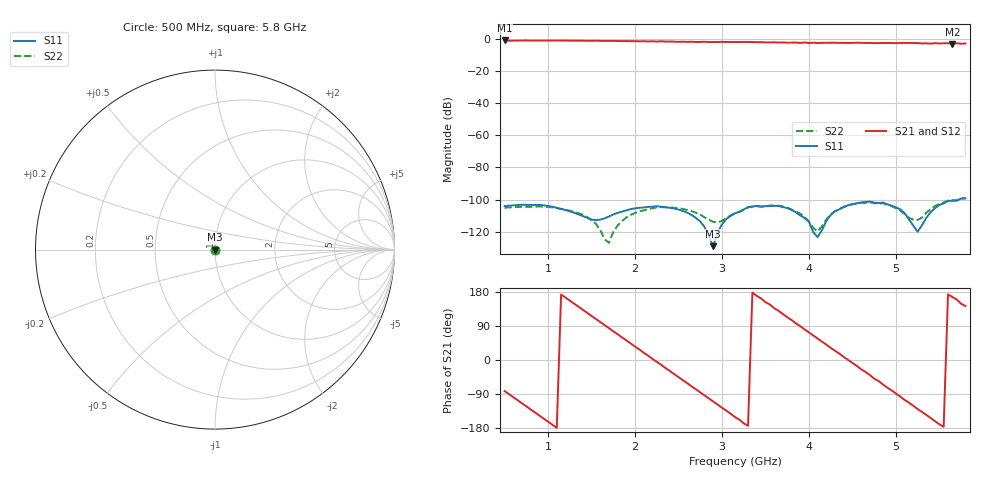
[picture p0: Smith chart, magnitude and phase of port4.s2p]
# GHZ S RI R 50
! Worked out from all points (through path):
!   107 points, 500 MHz to 5.8 GHz, reference 50 ohm
!   highest |S21| = -1.14 dB at 500 MHz (marker M1); lowest = -3.2 dB at 5.65 GHz (marker M2)
!   group delay of S21, straight-line fit = 448 ps
!   lowest |S11| = -129.0 dB at 2.9 GHz (marker M3), VSWR 1.00, Z = 50 - j9.72e-06 ohm
!   |S11| at or under -10 dB: start of sweep to end of sweep
!   |S22| runs from -126.9 to -99.3 dB; largest |S21 - S12| = 0.015
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0.5  5.3e-06 -3.4e-06  0.1218 -0.8685  0.1222 -0.868  5.43e-06 -1.17e-06
0.75  1.38e-06 -6.72e-06  -0.467 -0.7423  -0.4665 -0.7422  4.42e-06 -4.01e-06
1  -3.11e-06 -5.51e-06  -0.8309 -0.2591  -0.8308 -0.2605  1.52e-06 -5.72e-06
1.2  -3.99e-06 -2.54e-06  -0.8412 0.2262  -0.8409 0.2259  -1.12e-06 -4.7e-06
1.4  -2.86e-06 -1.1e-06  -0.5823 0.6366  -0.5827 0.6377  -2.31e-06 -2.46e-06
1.55  -1.88e-06 -1.33e-06  -0.2708 0.8178  -0.2693 0.8182  -1.54e-06 -8.79e-07
1.8  -2.5e-06 -2.91e-06  0.3161 0.7819  0.3169 0.7801  1.23e-06 -9.53e-07
2.1  -5.39e-06 -1.77e-06  0.7832 0.2708  0.7827 0.2704  8.58e-07 -4.54e-06
2.3  -5.94e-06 9.08e-07  0.8093 -0.1824  0.8096 -0.1788  -2.12e-06 -5.39e-06
2.65  -1.69e-06 2.87e-06  0.281 -0.749  0.2857 -0.7478  -4.2e-06 -1.19e-06
2.9  -3.42e-07 -9.72e-08  -0.2653 -0.7408  -0.2638 -0.7417  -1.92e-06 -6.75e-07
3.15  -3.06e-06 -2.12e-06  -0.6829 -0.3862  -0.6825 -0.3915  -2.24e-06 -3e-06
3.5  -5.75e-06 2.38e-06  -0.6807 0.3525  -0.6898 0.348  -6.23e-06 -5.31e-07
3.85  -7.49e-07 3.94e-06  -0.0868 0.7498  -0.0909 0.753  -2.83e-06 3.14e-06
4.05  -2.57e-07 9.39e-07  0.3175 0.6762  0.3187 0.6753  -9.98e-07 8.56e-07
4.3  -4.31e-06 -4.21e-07  0.6769 0.3087  0.6755 0.307  -3.79e-06 -2.05e-06
4.5  -6.55e-06 2.95e-06  0.7333 -0.097  0.7365 -0.1008  -7.12e-06 -9.72e-08
4.95  1.6e-06 6.28e-06  0.125 -0.7242  0.1257 -0.7246  -2.65e-06 5.62e-06
5.15  2.16e-06 1.12e-06  -0.2807 -0.6801  -0.2824 -0.6822  -1.1e-06 2.47e-06
5.35  -2.53e-06 -9.4e-07  -0.5839 -0.4144  -0.5822 -0.4121  -3.79e-06 6.86e-07
5.65  -7.36e-06 5.45e-06  -0.6691 0.1622  -0.673 0.1729  -7.83e-06 5.41e-06
5.8  -4.61e-06 9.86e-06  -0.5582 0.4302  -0.5491 0.4372  -5.38e-06 9.33e-06
